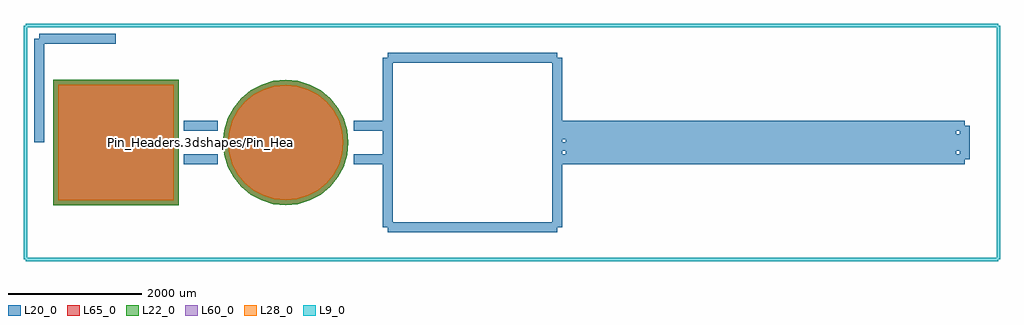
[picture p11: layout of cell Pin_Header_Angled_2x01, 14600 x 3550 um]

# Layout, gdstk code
import gdstk
lib = gdstk.Library(unit=1e-6, precision=1e-09)
def R(c, l, rs):  # rectangles x0, y0, x1, y1
    for r in rs: c.add(gdstk.rectangle(r[:2], r[2:], *l))
def P(c, l, *ps):  # polygons
    for p in ps: c.add(gdstk.Polygon(p, *l))
L9_0 = (9, 0)
L20_0 = (20, 0)
L22_0 = (22, 0)
L28_0 = (28, 0)
L60_0 = (60, 0)
L65_0 = (65, 0)

pin_header_angled_2x01 = lib.new_cell('Pin_Header_Angled_2x01')
R(pin_header_angled_2x01, L22_0, [(-938.6,-938.6,938.6,938.6)])
P(pin_header_angled_2x01, L22_0, [(3478.6,0),(3460.565,183.112),(3407.153,359.187),(3320.417,521.458),(3203.69,663.69),(3061.458,780.417),(2899.187,867.153),(2723.112,920.565),(2540,938.6),(2356.888,920.565),(2180.813,867.153),(2018.542,780.417),(1876.31,663.69),(1759.583,521.458),(1672.847,359.187),(1619.435,183.112),(1601.4,0),(1619.435,-183.112),(1672.847,-359.187),(1759.583,-521.458),(1876.31,-663.69),(2018.542,-780.417),(2180.813,-867.153),(2356.888,-920.565),(2540,-938.6),(2723.112,-920.565),(2899.187,-867.153),(3061.458,-780.417),(3203.69,-663.69),(3320.417,-521.458),(3407.153,-359.187),(3460.565,-183.112)])
R(pin_header_angled_2x01, L28_0, [(-863.6,-863.6,863.6,863.6)])
P(pin_header_angled_2x01, L28_0, [(3403.6,0),(3387.006,168.48),(3337.862,330.485),(3258.057,479.79),(3150.657,610.657),(3019.79,718.057),(2870.485,797.862),(2708.48,847.006),(2540,863.6),(2371.52,847.006),(2209.515,797.862),(2060.21,718.057),(1929.343,610.657),(1821.943,479.79),(1742.138,330.485),(1692.994,168.48),(1676.4,0),(1692.994,-168.48),(1742.138,-330.485),(1821.943,-479.79),(1929.343,-610.657),(2060.21,-718.057),(2209.515,-797.862),(2371.52,-847.006),(2540,-863.6),(2708.48,-847.006),(2870.485,-797.862),(3019.79,-718.057),(3150.657,-610.657),(3258.057,-479.79),(3337.862,-330.485),(3387.006,-168.48)])
R(pin_header_angled_2x01, L60_0, [(-863.6,-863.6,863.6,863.6)])
P(pin_header_angled_2x01, L60_0, [(3403.6,0),(3387.006,168.48),(3337.862,330.485),(3258.057,479.79),(3150.657,610.657),(3019.79,718.057),(2870.485,797.862),(2708.48,847.006),(2540,863.6),(2371.52,847.006),(2209.515,797.862),(2060.21,718.057),(1929.343,610.657),(1821.943,479.79),(1742.138,330.485),(1692.994,168.48),(1676.4,0),(1692.994,-168.48),(1742.138,-330.485),(1821.943,-479.79),(1929.343,-610.657),(2060.21,-718.057),(2209.515,-797.862),(2371.52,-847.006),(2540,-863.6),(2708.48,-847.006),(2870.485,-797.862),(3019.79,-718.057),(3150.657,-610.657),(3258.057,-479.79),(3337.862,-330.485),(3387.006,-168.48)])
R(pin_header_angled_2x01, L65_0, [(-938.6,-938.6,938.6,938.6)])
P(pin_header_angled_2x01, L65_0, [(3478.6,0),(3460.565,183.112),(3407.153,359.187),(3320.417,521.458),(3203.69,663.69),(3061.458,780.417),(2899.187,867.153),(2723.112,920.565),(2540,938.6),(2356.888,920.565),(2180.813,867.153),(2018.542,780.417),(1876.31,663.69),(1759.583,521.458),(1672.847,359.187),(1619.435,183.112),(1601.4,0),(1619.435,-183.112),(1672.847,-359.187),(1759.583,-521.458),(1876.31,-663.69),(2018.542,-780.417),(2180.813,-867.153),(2356.888,-920.565),(2540,-938.6),(2723.112,-920.565),(2899.187,-867.153),(3061.458,-780.417),(3203.69,-663.69),(3320.417,-521.458),(3407.153,-359.187),(3460.565,-183.112)])
pin_header_angled_2x01.add(gdstk.FlexPath([(4064,1270),(6604,1270)], 149.998, ends="flush", simple_path=True, layer=20, datatype=0))  # L20_0
pin_header_angled_2x01.add(gdstk.FlexPath([(4064,1270),(4064,-1270)], 149.998, ends="flush", simple_path=True, layer=20, datatype=0))  # L20_0
pin_header_angled_2x01.add(gdstk.FlexPath([(4064,-1270),(6604,-1270)], 149.998, ends="flush", simple_path=True, layer=20, datatype=0))  # L20_0
pin_header_angled_2x01.add(gdstk.FlexPath([(6604,254),(12700,254)], 149.998, ends="flush", simple_path=True, layer=20, datatype=0))  # L20_0
pin_header_angled_2x01.add(gdstk.FlexPath([(12700,254),(12700,-254)], 149.998, ends="flush", simple_path=True, layer=20, datatype=0))  # L20_0
pin_header_angled_2x01.add(gdstk.FlexPath([(12700,-254),(6604,-254)], 149.998, ends="flush", simple_path=True, layer=20, datatype=0))  # L20_0
pin_header_angled_2x01.add(gdstk.FlexPath([(6604,-1270),(6604,1270)], 149.998, ends="flush", simple_path=True, layer=20, datatype=0))  # L20_0
pin_header_angled_2x01.add(gdstk.FlexPath([(4064,-1270),(6604,-1270)], 149.998, ends="flush", simple_path=True, layer=20, datatype=0))  # L20_0
pin_header_angled_2x01.add(gdstk.FlexPath([(6731,0),(12573,0)], 149.998, ends="flush", simple_path=True, layer=20, datatype=0))  # L20_0
pin_header_angled_2x01.add(gdstk.FlexPath([(6731,-127),(6731,0)], 149.998, ends="flush", simple_path=True, layer=20, datatype=0))  # L20_0
pin_header_angled_2x01.add(gdstk.FlexPath([(12573,-127),(6731,-127)], 149.998, ends="flush", simple_path=True, layer=20, datatype=0))  # L20_0
pin_header_angled_2x01.add(gdstk.FlexPath([(12573,127),(12573,-127)], 149.998, ends="flush", simple_path=True, layer=20, datatype=0))  # L20_0
pin_header_angled_2x01.add(gdstk.FlexPath([(6604,127),(12573,127)], 149.998, ends="flush", simple_path=True, layer=20, datatype=0))  # L20_0
pin_header_angled_2x01.add(gdstk.FlexPath([(-1150,1550),(-1150,0)], 149.998, ends="flush", simple_path=True, layer=20, datatype=0))  # L20_0
pin_header_angled_2x01.add(gdstk.FlexPath([(0,1550),(-1150,1550)], 149.998, ends="flush", simple_path=True, layer=20, datatype=0))  # L20_0
pin_header_angled_2x01.add(gdstk.FlexPath([(4064,-254),(3556,-254)], 149.998, ends="flush", simple_path=True, layer=20, datatype=0))  # L20_0
pin_header_angled_2x01.add(gdstk.FlexPath([(4064,254),(3556,254)], 149.998, ends="flush", simple_path=True, layer=20, datatype=0))  # L20_0
pin_header_angled_2x01.add(gdstk.FlexPath([(1524,254),(1016,254)], 149.998, ends="flush", simple_path=True, layer=20, datatype=0))  # L20_0
pin_header_angled_2x01.add(gdstk.FlexPath([(1524,-254),(1016,-254)], 149.998, ends="flush", simple_path=True, layer=20, datatype=0))  # L20_0
pin_header_angled_2x01.add(gdstk.FlexPath([(-1350,-1750),(13200,-1750)], 50, ends="flush", simple_path=True, layer=9, datatype=0))  # L9_0
pin_header_angled_2x01.add(gdstk.FlexPath([(-1350,1750),(13200,1750)], 50, ends="flush", simple_path=True, layer=9, datatype=0))  # L9_0
pin_header_angled_2x01.add(gdstk.FlexPath([(13200,1750),(13200,-1750)], 50, ends="flush", simple_path=True, layer=9, datatype=0))  # L9_0
pin_header_angled_2x01.add(gdstk.FlexPath([(-1350,1750),(-1350,-1750)], 50, ends="flush", simple_path=True, layer=9, datatype=0))  # L9_0
pin_header_angled_2x01.add(gdstk.Label('Pin_Headers.3dshapes/Pin_Header_Angled_2x01.wrl', (1270,0), layer=12, texttype=0))
pin_header_angled_2x01.add(gdstk.Label('2', (2540,0), layer=28, texttype=0))
pin_header_angled_2x01.add(gdstk.Label('1', (0,0), layer=28, texttype=0))
pin_header_angled_2x01.add(gdstk.Label('type', (0,3100), layer=9, texttype=0))
pin_header_angled_2x01.add(gdstk.Label('devicename', (0,5100), layer=9, texttype=0))

lib.write_gds('Pin_Header_Angled_2x01.gds')
